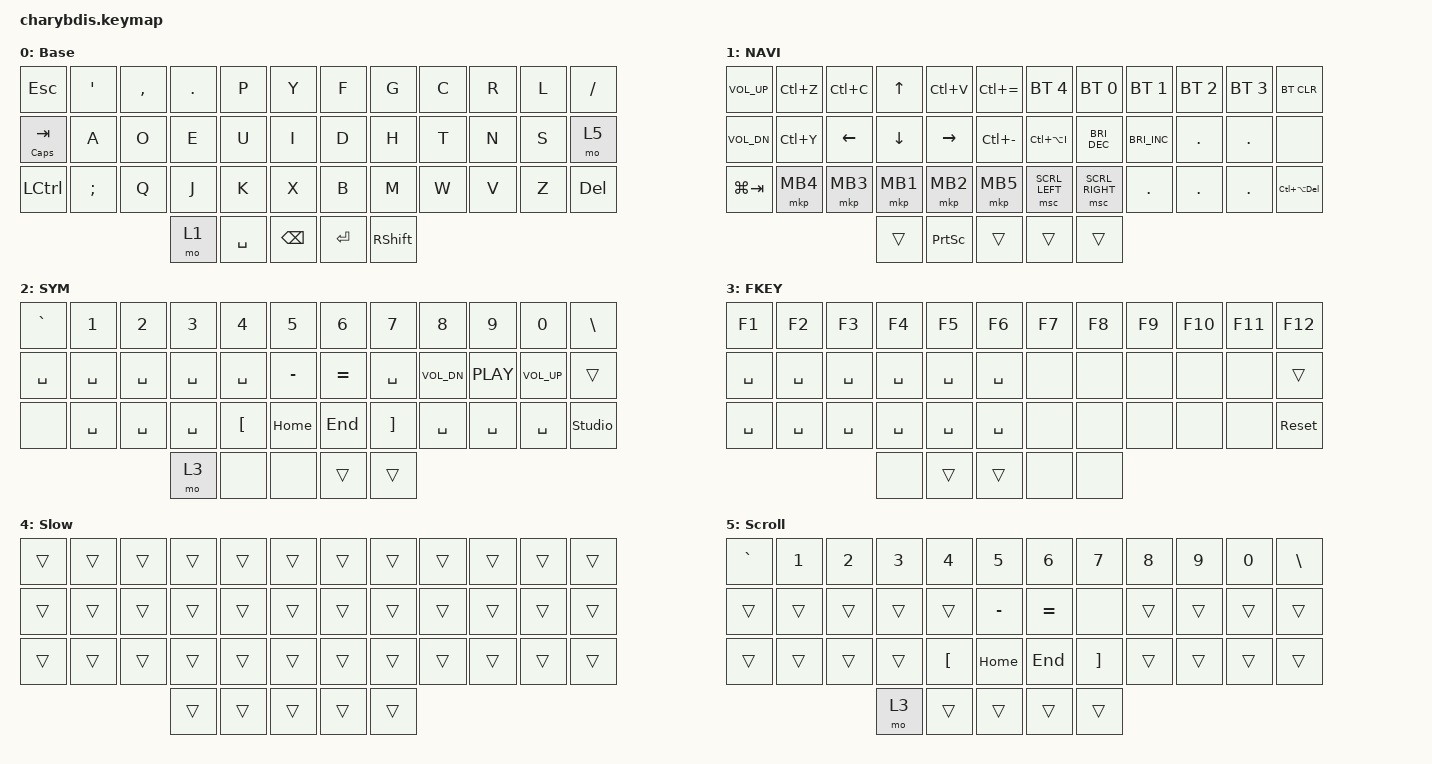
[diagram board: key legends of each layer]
/* upstream bindings and behaviors */

#include <behaviors/mouse_keys.dtsi>
#include <dt-bindings/zmk/mouse.h>
#include <behaviors.dtsi>
#include <dt-bindings/zmk/bt.h>
#include <dt-bindings/zmk/keys.h>
#include <dt-bindings/zmk/pointing.h>

/* local overlays */

#include "keymap_features/prospector_brightness.dtsi"
#include "keymap_features/macros.dtsi"
#include "keymap_features/behaviors.dtsi"
#include "keymap_features/combos.dtsi"

/ {
    /* --- KEYMAP CONFIG --- */
    // ╭──────┬──────┬──────┬──────┬──────┬──────╮  ╭──────┬──────┬──────┬──────┬──────┬──────╮
    //    00     01     02     03    04      05        06     07     08     09     10     11
    // ├──────┼──────┼──────┼──────┼──────┼──────┤  ├──────┼──────┼──────┼──────┼──────┼──────┤
    //    12     13     14     15    16      17        18     19     20     21     22     23
    // ├──────┼──────┼──────┼──────┼──────┼──────┤  ├──────┼──────┼──────┼──────┼──────┼──────┤
    //    24     25     26     27    28      29        30     31     32     33     34     35
    // ╰──────┴──────┴──────┼──────┼──────┼──────┤  ├──────┼──────┼──────┴──────┴──────┴──────╯
    //                         36     37     38        39     40
    //                      ╰──────┴──────┴──────╯  ╰──────┴──────╯
    // Current layer indexes:
    // BASE   = 0
    // NAVI   = 1
    // SYM    = 2
    // FKEY   = 3
    // SLOW   = 4
    // SCROLL = 5
    // This shared keymap builds for prospector and non-prospector firmwares. 
    // This stubs the key bindings that are contained in the prospector module
    // so non-prospector firmware can build.

    #ifndef CONFIG_SHIELD_PROSPECTOR_ADAPTER

    behaviors {
        /omit-if-no-ref/

        pbl: prospector_brightness_stub {
            compatible = "zmk,behavior-macro-two-param";
            #binding-cells = <2>;
            bindings = <&none>;
        };
    };

    #endif

    macros {
    };

    keymap {
        compatible = "zmk,keymap";

        BASE {
            display-name = "Base";
            bindings = <
&kp ESCAPE    &kp SQT   &kp COMMA  &kp DOT  &kp P      &kp Y       &kp F    &kp G      &kp C  &kp R  &kp L  &kp FSLH
&mt CAPS TAB  &kp A     &kp O      &kp E    &kp U      &kp I       &kp D    &kp H      &kp T  &kp N  &kp S  &mo 5
&kp LCTRL     &kp SEMI  &kp Q      &kp J    &kp K      &kp X       &kp B    &kp M      &kp W  &kp V  &kp Z  &kp DEL
                                   &mo 1    &kp SPACE  &kp BSPC    &kp RET  &kp RSHFT
            >;
        };

        NAVI {
            display-name = "NAVI";
            bindings = <
&kp C_VOLUME_UP  &kp LC(Z)  &kp LC(C)  &kp UP    &kp LC(V)        &kp LC(EQUAL)    &bt BT_SEL 4    &bt BT_SEL 0          &bt BT_SEL 1          &bt BT_SEL 2  &bt BT_SEL 3  &bt BT_CLR
&kp C_VOL_DN     &kp LC(Y)  &kp LEFT   &kp DOWN  &kp RIGHT        &kp LC(MINUS)    &kp LC(LA(I))   &kp C_BRIGHTNESS_DEC  &kp C_BRIGHTNESS_INC  &kp DOT       &kp DOT       &none
&kp LG(TAB)      &mkp MB4   &mkp MB3   &mkp MB1  &mkp MB2         &mkp MB5         &msc SCRL_LEFT  &msc SCRL_RIGHT       &kp DOT               &kp DOT       &kp DOT       &kp LC(LA(DELETE))
                                       &trans    &kp PRINTSCREEN  &trans           &trans          &trans
            >;
        };

        SYM {
            display-name = "SYM";
            bindings = <
&kp GRAVE  &kp N1     &kp N2     &kp N3     &kp N4     &kp N5       &kp N6     &kp N7     &kp N8        &kp N9      &kp N0           &kp BSLH
&kp SPACE  &kp SPACE  &kp SPACE  &kp SPACE  &kp SPACE  &kp MINUS    &kp EQUAL  &kp SPACE  &kp C_VOL_DN  &kp C_PLAY  &kp C_VOLUME_UP  &trans
&none      &kp SPACE  &kp SPACE  &kp SPACE  &kp LBKT   &kp HOME     &kp END    &kp RBKT   &kp SPACE     &kp SPACE   &kp SPACE        &studio_unlock
                                 &mo 3      &none      &none        &trans     &trans
            >;
        };

        FKEY {
            display-name = "FKEY";
            bindings = <
&kp F1     &kp F2     &kp F3     &kp F4     &kp F5     &kp F6       &kp F7  &kp F8  &kp F9  &kp F10  &kp F11  &kp F12
&kp SPACE  &kp SPACE  &kp SPACE  &kp SPACE  &kp SPACE  &kp SPACE    &none   &none   &none   &none    &none    &trans
&kp SPACE  &kp SPACE  &kp SPACE  &kp SPACE  &kp SPACE  &kp SPACE    &none   &none   &none   &none    &none    &sys_reset
                                 &none      &trans     &trans       &none   &none
            >;
        };

        SLOW {
            display-name = "Slow";
            bindings = <
&trans  &trans  &trans  &trans  &trans  &trans    &trans  &trans  &trans  &trans  &trans  &trans
&trans  &trans  &trans  &trans  &trans  &trans    &trans  &trans  &trans  &trans  &trans  &trans
&trans  &trans  &trans  &trans  &trans  &trans    &trans  &trans  &trans  &trans  &trans  &trans
                        &trans  &trans  &trans    &trans  &trans
            >;
        };

        SCROLL {
            display-name = "Scroll";
            bindings = <
&kp GRAVE  &kp N1  &kp N2  &kp N3  &kp N4    &kp N5       &kp N6     &kp N7    &kp N8  &kp N9  &kp N0  &kp BSLH
&trans     &trans  &trans  &trans  &trans    &kp MINUS    &kp EQUAL  &none     &trans  &trans  &trans  &trans
&trans     &trans  &trans  &trans  &kp LBKT  &kp HOME     &kp END    &kp RBKT  &trans  &trans  &trans  &trans
                           &mo 3   &trans    &trans       &trans     &trans
            >;
        };
    };
};
